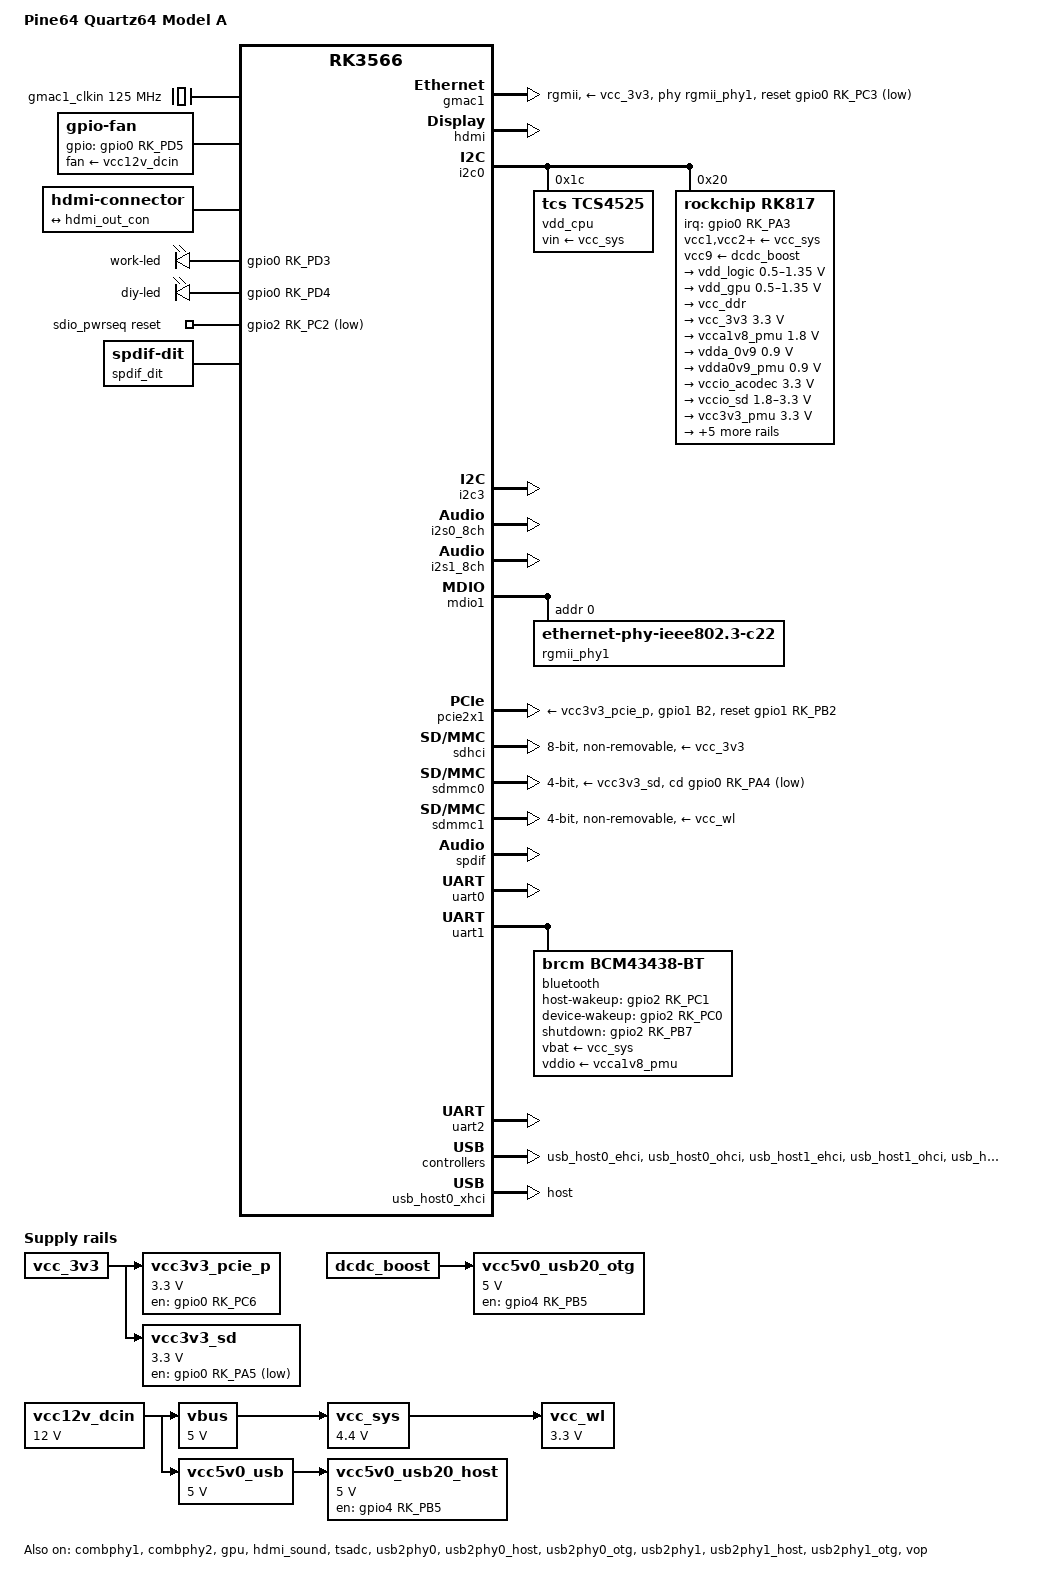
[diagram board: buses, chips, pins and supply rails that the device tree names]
// SPDX-License-Identifier: (GPL-2.0+ OR MIT)

/dts-v1/;

#include <dt-bindings/gpio/gpio.h>
#include <dt-bindings/pinctrl/rockchip.h>
#include <dt-bindings/soc/rockchip,vop2.h>
#include "rk3566.dtsi"

/ {
	model = "Pine64 Quartz64 Model A";
	compatible = "pine64,quartz64-a", "rockchip,rk3566";

	aliases {
		ethernet0 = &gmac1;
		mmc0 = &sdmmc0;
		mmc1 = &sdhci;
	};

	chosen: chosen {
		stdout-path = "serial2:1500000n8";
	};

	gmac1_clkin: external-gmac1-clock {
		compatible = "fixed-clock";
		clock-frequency = <125000000>;
		clock-output-names = "gmac1_clkin";
		#clock-cells = <0>;
	};

	fan: gpio_fan {
		compatible = "gpio-fan";
		fan-supply = <&vcc12v_dcin>;
		gpios = <&gpio0 RK_PD5 GPIO_ACTIVE_HIGH>;
		gpio-fan,speed-map =
				<   0 0>,
				<4500 1>;
		pinctrl-names = "default";
		pinctrl-0 = <&fan_en_h>;
		#cooling-cells = <2>;
	};

	hdmi-con {
		compatible = "hdmi-connector";
		type = "a";

		port {
			hdmi_con_in: endpoint {
				remote-endpoint = <&hdmi_out_con>;
			};
		};
	};

	leds {
		compatible = "gpio-leds";

		led-work {
			label = "work-led";
			default-state = "off";
			gpios = <&gpio0 RK_PD3 GPIO_ACTIVE_HIGH>;
			pinctrl-names = "default";
			pinctrl-0 = <&work_led_enable_h>;
			retain-state-suspended;
		};

		led-diy {
			label = "diy-led";
			default-state = "on";
			gpios = <&gpio0 RK_PD4 GPIO_ACTIVE_HIGH>;
			linux,default-trigger = "heartbeat";
			pinctrl-names = "default";
			pinctrl-0 = <&diy_led_enable_h>;
			retain-state-suspended;
		};
	};

	rk817-sound {
		compatible = "simple-audio-card";
		simple-audio-card,format = "i2s";
		simple-audio-card,name = "Analog RK817";
		simple-audio-card,mclk-fs = <256>;

		simple-audio-card,cpu {
			sound-dai = <&i2s1_8ch>;
		};

		simple-audio-card,codec {
			sound-dai = <&rk817>;
		};
	};

	sdio_pwrseq: sdio-pwrseq {
		compatible = "mmc-pwrseq-simple";
		clocks = <&rk817 1>;
		clock-names = "ext_clock";
		pinctrl-names = "default";
		pinctrl-0 = <&wifi_enable_h>;
		post-power-on-delay-ms = <100>;
		power-off-delay-us = <5000000>;
		reset-gpios = <&gpio2 RK_PC2 GPIO_ACTIVE_LOW>;
	};

	spdif_dit: spdif-dit {
		compatible = "linux,spdif-dit";
		#sound-dai-cells = <0>;
	};

	spdif_sound: spdif-sound {
		compatible = "simple-audio-card";
		simple-audio-card,name = "SPDIF";

		simple-audio-card,cpu {
			sound-dai = <&spdif>;
		};

		simple-audio-card,codec {
			sound-dai = <&spdif_dit>;
		};
	};

	vcc12v_dcin: regulator-vcc12v-dcin {
		compatible = "regulator-fixed";
		regulator-name = "vcc12v_dcin";
		regulator-always-on;
		regulator-boot-on;
		regulator-min-microvolt = <12000000>;
		regulator-max-microvolt = <12000000>;
	};

	/* vbus feeds the rk817 usb input.
	 * With no battery attached, also feeds vcc_bat+
	 * via ON/OFF_BAT jumper
	 */
	vbus: regulator-vbus {
		compatible = "regulator-fixed";
		regulator-name = "vbus";
		regulator-always-on;
		regulator-boot-on;
		regulator-min-microvolt = <5000000>;
		regulator-max-microvolt = <5000000>;
		vin-supply = <&vcc12v_dcin>;
	};

	vcc3v3_pcie_p: regulator-vcc3v3-pcie-p {
		compatible = "regulator-fixed";
		enable-active-high;
		gpio = <&gpio0 RK_PC6 GPIO_ACTIVE_HIGH>;
		pinctrl-names = "default";
		pinctrl-0 = <&pcie_enable_h>;
		regulator-name = "vcc3v3_pcie_p";
		regulator-min-microvolt = <3300000>;
		regulator-max-microvolt = <3300000>;
		vin-supply = <&vcc_3v3>;
	};

	vcc5v0_usb: regulator-vcc5v0-usb {
		compatible = "regulator-fixed";
		regulator-name = "vcc5v0_usb";
		regulator-always-on;
		regulator-boot-on;
		regulator-min-microvolt = <5000000>;
		regulator-max-microvolt = <5000000>;
		vin-supply = <&vcc12v_dcin>;
	};

	/* all four ports are controlled by one gpio
	 * the host ports are sourced from vcc5v0_usb
	 * the otg port is sourced from vcc5v0_midu
	 */
	vcc5v0_usb20_host: regulator-vcc5v0-usb20-host {
		compatible = "regulator-fixed";
		enable-active-high;
		gpio = <&gpio4 RK_PB5 GPIO_ACTIVE_HIGH>;
		pinctrl-names = "default";
		pinctrl-0 = <&vcc5v0_usb20_host_en>;
		regulator-name = "vcc5v0_usb20_host";
		regulator-min-microvolt = <5000000>;
		regulator-max-microvolt = <5000000>;
		vin-supply = <&vcc5v0_usb>;
	};

	vcc5v0_usb20_otg: regulator-vcc5v0-usb20-otg {
		compatible = "regulator-fixed";
		enable-active-high;
		gpio = <&gpio4 RK_PB5 GPIO_ACTIVE_HIGH>;
		regulator-name = "vcc5v0_usb20_otg";
		regulator-min-microvolt = <5000000>;
		regulator-max-microvolt = <5000000>;
		vin-supply = <&dcdc_boost>;
	};

	vcc3v3_sd: regulator-vcc3v3-sd {
		compatible = "regulator-fixed";
		gpio = <&gpio0 RK_PA5 GPIO_ACTIVE_LOW>;
		pinctrl-names = "default";
		pinctrl-0 = <&vcc_sd_h>;
		regulator-boot-on;
		regulator-name = "vcc3v3_sd";
		regulator-min-microvolt = <3300000>;
		regulator-max-microvolt = <3300000>;
		vin-supply = <&vcc_3v3>;
	};

	/* sourced from vbus and vcc_bat+ via rk817 sw5 */
	vcc_sys: regulator-vcc-sys {
		compatible = "regulator-fixed";
		regulator-name = "vcc_sys";
		regulator-always-on;
		regulator-boot-on;
		regulator-min-microvolt = <4400000>;
		regulator-max-microvolt = <4400000>;
		vin-supply = <&vbus>;
	};

	/* sourced from vcc_sys, sdio module operates internally at 3.3v */
	vcc_wl: regulator-vcc-wl {
		compatible = "regulator-fixed";
		regulator-name = "vcc_wl";
		regulator-always-on;
		regulator-boot-on;
		regulator-min-microvolt = <3300000>;
		regulator-max-microvolt = <3300000>;
		vin-supply = <&vcc_sys>;
	};
};

&combphy1 {
	status = "okay";
};

&combphy2 {
	status = "okay";
};

&cpu0 {
	cpu-supply = <&vdd_cpu>;
};

&cpu1 {
	cpu-supply = <&vdd_cpu>;
};

&cpu2 {
	cpu-supply = <&vdd_cpu>;
};

&cpu3 {
	cpu-supply = <&vdd_cpu>;
};

&cpu_thermal {
	trips {
		cpu_hot: cpu_hot {
			temperature = <55000>;
			hysteresis = <2000>;
			type = "active";
		};
	};

	cooling-maps {
		map1 {
			trip = <&cpu_hot>;
			cooling-device = <&fan THERMAL_NO_LIMIT THERMAL_NO_LIMIT>;
		};
	};
};

&gmac1 {
	assigned-clocks = <&cru SCLK_GMAC1_RX_TX>,
			  <&cru SCLK_GMAC1_RGMII_SPEED>,
			  <&cru SCLK_GMAC1>;
	assigned-clock-parents = <&cru SCLK_GMAC1_RGMII_SPEED>,
				 <&cru SCLK_GMAC1>,
				 <&gmac1_clkin>;
	clock_in_out = "input";
	phy-supply = <&vcc_3v3>;
	phy-mode = "rgmii";
	pinctrl-names = "default";
	pinctrl-0 = <&gmac1m0_miim
		     &gmac1m0_tx_bus2
		     &gmac1m0_rx_bus2
		     &gmac1m0_rgmii_clk
		     &gmac1m0_clkinout
		     &gmac1m0_rgmii_bus>;
	snps,reset-gpio = <&gpio0 RK_PC3 GPIO_ACTIVE_LOW>;
	snps,reset-active-low;
	/* Reset time is 20ms, 100ms for rtl8211f */
	snps,reset-delays-us = <0 20000 100000>;
	tx_delay = <0x30>;
	rx_delay = <0x10>;
	phy-handle = <&rgmii_phy1>;
	status = "okay";
};

&gpu {
	mali-supply = <&vdd_gpu>;
	status = "okay";
};

&hdmi {
	avdd-0v9-supply = <&vdda_0v9>;
	avdd-1v8-supply = <&vcc_1v8>;
	status = "okay";
};

&hdmi_in {
	hdmi_in_vp0: endpoint {
		remote-endpoint = <&vp0_out_hdmi>;
	};
};

&hdmi_out {
	hdmi_out_con: endpoint {
		remote-endpoint = <&hdmi_con_in>;
	};
};

&hdmi_sound {
	status = "okay";
};

&i2c0 {
	status = "okay";

	vdd_cpu: regulator@1c {
		compatible = "tcs,tcs4525";
		reg = <0x1c>;
		fcs,suspend-voltage-selector = <1>;
		regulator-name = "vdd_cpu";
		regulator-min-microvolt = <800000>;
		regulator-max-microvolt = <1150000>;
		regulator-ramp-delay = <2300>;
		regulator-always-on;
		regulator-boot-on;
		vin-supply = <&vcc_sys>;

		regulator-state-mem {
			regulator-off-in-suspend;
		};
	};

	rk817: pmic@20 {
		compatible = "rockchip,rk817";
		reg = <0x20>;
		interrupt-parent = <&gpio0>;
		interrupts = <RK_PA3 IRQ_TYPE_LEVEL_LOW>;
		assigned-clocks = <&cru I2S1_MCLKOUT_TX>;
		assigned-clock-parents = <&cru CLK_I2S1_8CH_TX>;
		clock-names = "mclk";
		clocks = <&cru I2S1_MCLKOUT_TX>;
		clock-output-names = "rk808-clkout1", "rk808-clkout2";
		#clock-cells = <1>;
		pinctrl-names = "default";
		pinctrl-0 = <&pmic_int_l>, <&i2s1m0_mclk>;
		system-power-controller;
		#sound-dai-cells = <0>;
		wakeup-source;

		vcc1-supply = <&vcc_sys>;
		vcc2-supply = <&vcc_sys>;
		vcc3-supply = <&vcc_sys>;
		vcc4-supply = <&vcc_sys>;
		vcc5-supply = <&vcc_sys>;
		vcc6-supply = <&vcc_sys>;
		vcc7-supply = <&vcc_sys>;
		vcc8-supply = <&vcc_sys>;
		vcc9-supply = <&dcdc_boost>;

		regulators {
			vdd_logic: DCDC_REG1 {
				regulator-always-on;
				regulator-boot-on;
				regulator-min-microvolt = <500000>;
				regulator-max-microvolt = <1350000>;
				regulator-ramp-delay = <6001>;
				regulator-initial-mode = <0x2>;
				regulator-name = "vdd_logic";
				regulator-state-mem {
					regulator-on-in-suspend;
					regulator-suspend-microvolt = <900000>;
				};
			};

			vdd_gpu: DCDC_REG2 {
				regulator-always-on;
				regulator-boot-on;
				regulator-min-microvolt = <500000>;
				regulator-max-microvolt = <1350000>;
				regulator-ramp-delay = <6001>;
				regulator-initial-mode = <0x2>;
				regulator-name = "vdd_gpu";
					regulator-state-mem {
					regulator-off-in-suspend;
				};
			};

			vcc_ddr: DCDC_REG3 {
				regulator-always-on;
				regulator-boot-on;
				regulator-initial-mode = <0x2>;
				regulator-name = "vcc_ddr";
				regulator-state-mem {
					regulator-on-in-suspend;
				};
			};

			vcc_3v3: DCDC_REG4 {
				regulator-always-on;
				regulator-boot-on;
				regulator-min-microvolt = <3300000>;
				regulator-max-microvolt = <3300000>;
				regulator-initial-mode = <0x2>;
				regulator-name = "vcc_3v3";
				regulator-state-mem {
					regulator-off-in-suspend;
				};
			};

			vcca1v8_pmu: LDO_REG1 {
				regulator-always-on;
				regulator-boot-on;
				regulator-min-microvolt = <1800000>;
				regulator-max-microvolt = <1800000>;
				regulator-name = "vcca1v8_pmu";
				regulator-state-mem {
					regulator-on-in-suspend;
					regulator-suspend-microvolt = <1800000>;
				};
			};

			vdda_0v9: LDO_REG2 {
				regulator-always-on;
				regulator-boot-on;
				regulator-min-microvolt = <900000>;
				regulator-max-microvolt = <900000>;
				regulator-name = "vdda_0v9";
				regulator-state-mem {
					regulator-off-in-suspend;
				};
			};

			vdda0v9_pmu: LDO_REG3 {
				regulator-always-on;
				regulator-boot-on;
				regulator-min-microvolt = <900000>;
				regulator-max-microvolt = <900000>;
				regulator-name = "vdda0v9_pmu";
				regulator-state-mem {
					regulator-on-in-suspend;
					regulator-suspend-microvolt = <900000>;
				};
			};

			vccio_acodec: LDO_REG4 {
				regulator-always-on;
				regulator-boot-on;
				regulator-min-microvolt = <3300000>;
				regulator-max-microvolt = <3300000>;
				regulator-name = "vccio_acodec";
				regulator-state-mem {
					regulator-off-in-suspend;
				};
			};

			vccio_sd: LDO_REG5 {
				regulator-always-on;
				regulator-boot-on;
				regulator-min-microvolt = <1800000>;
				regulator-max-microvolt = <3300000>;
				regulator-name = "vccio_sd";
				regulator-state-mem {
					regulator-off-in-suspend;
				};
			};

			vcc3v3_pmu: LDO_REG6 {
				regulator-always-on;
				regulator-boot-on;
				regulator-min-microvolt = <3300000>;
				regulator-max-microvolt = <3300000>;
				regulator-name = "vcc3v3_pmu";
				regulator-state-mem {
					regulator-on-in-suspend;
					regulator-suspend-microvolt = <3300000>;
				};
			};

			vcc_1v8: LDO_REG7 {
				regulator-always-on;
				regulator-boot-on;
				regulator-min-microvolt = <1800000>;
				regulator-max-microvolt = <1800000>;
				regulator-name = "vcc_1v8";
				regulator-state-mem {
					regulator-off-in-suspend;
				};
			};

			vcc1v8_dvp: LDO_REG8 {
				regulator-always-on;
				regulator-boot-on;
				regulator-min-microvolt = <1800000>;
				regulator-max-microvolt = <1800000>;
				regulator-name = "vcc1v8_dvp";
				regulator-state-mem {
					regulator-off-in-suspend;
				};
			};

			vcc2v8_dvp: LDO_REG9 {
				regulator-always-on;
				regulator-boot-on;
				regulator-min-microvolt = <2800000>;
				regulator-max-microvolt = <2800000>;
				regulator-name = "vcc2v8_dvp";
				regulator-state-mem {
					regulator-off-in-suspend;
				};
			};

			dcdc_boost: BOOST {
				regulator-always-on;
				regulator-boot-on;
				regulator-min-microvolt = <5000000>;
				regulator-max-microvolt = <5000000>;
				regulator-name = "boost";
				regulator-state-mem {
					regulator-off-in-suspend;
				};
			};

			otg_switch: OTG_SWITCH {
				regulator-name = "otg_switch";
				regulator-state-mem {
					regulator-off-in-suspend;
				};
			};
		};
	};
};

/* i2c3 is exposed on con40
 * pin 3 - i2c3_sda_m0, pullup to vcc_3v3
 * pin 5 - i2c3_scl_m0, pullup to vcc_3v3
 */
&i2c3 {
	status = "okay";
};

&i2s0_8ch {
	status = "okay";
};

&i2s1_8ch {
	pinctrl-names = "default";
	pinctrl-0 = <&i2s1m0_sclktx
		     &i2s1m0_lrcktx
		     &i2s1m0_sdi0
		     &i2s1m0_sdo0>;
	rockchip,trcm-sync-tx-only;
	status = "okay";
};

&mdio1 {
	rgmii_phy1: ethernet-phy@0 {
		compatible = "ethernet-phy-ieee802.3-c22";
		reg = <0>;
	};
};

&pcie2x1 {
	pinctrl-names = "default";
	pinctrl-0 = <&pcie_reset_h>;
	reset-gpios = <&gpio1 RK_PB2 GPIO_ACTIVE_HIGH>;
	vpcie3v3-supply = <&vcc3v3_pcie_p>;
	status = "okay";
};

&pinctrl {
	bt {
		bt_enable_h: bt-enable-h {
			rockchip,pins = <2 RK_PB7 RK_FUNC_GPIO &pcfg_pull_none>;
		};

		bt_host_wake_l: bt-host-wake-l {
			rockchip,pins = <2 RK_PC0 RK_FUNC_GPIO &pcfg_pull_down>;
		};

		bt_wake_l: bt-wake-l {
			rockchip,pins = <2 RK_PC1 RK_FUNC_GPIO &pcfg_pull_none>;
		};
	};

	fan {
		fan_en_h: fan-en-h {
			rockchip,pins = <0 RK_PD5 RK_FUNC_GPIO &pcfg_pull_none>;
		};
	};

	leds {
		work_led_enable_h: work-led-enable-h {
			rockchip,pins = <0 RK_PD3 RK_FUNC_GPIO &pcfg_pull_none>;
		};

		diy_led_enable_h: diy-led-enable-h {
			rockchip,pins = <0 RK_PD4 RK_FUNC_GPIO &pcfg_pull_none>;
		};
	};

	pcie {
		pcie_enable_h: pcie-enable-h {
			rockchip,pins = <0 RK_PC6 RK_FUNC_GPIO &pcfg_pull_none>;
		};

		pcie_reset_h: pcie-reset-h {
			rockchip,pins = <1 RK_PB2 RK_FUNC_GPIO &pcfg_pull_none>;
		};
	};

	pmic {
		pmic_int_l: pmic-int-l {
			rockchip,pins = <0 RK_PA3 RK_FUNC_GPIO &pcfg_pull_up>;
		};
	};

	usb2 {
		vcc5v0_usb20_host_en: vcc5v0-usb20-host-en {
			rockchip,pins = <4 RK_PB5 RK_FUNC_GPIO &pcfg_pull_none>;
		};
	};

	sdio-pwrseq {
		wifi_enable_h: wifi-enable-h {
			rockchip,pins = <2 RK_PC2 RK_FUNC_GPIO &pcfg_pull_none>;
		};
	};

	vcc_sd {
		vcc_sd_h: vcc-sd-h {
			rockchip,pins = <0 RK_PA5 RK_FUNC_GPIO &pcfg_pull_none>;
		};
	};
};

&pmu_io_domains {
	pmuio1-supply = <&vcc3v3_pmu>;
	pmuio2-supply = <&vcc3v3_pmu>;
	vccio1-supply = <&vccio_acodec>;
	vccio2-supply = <&vcc_1v8>;
	vccio3-supply = <&vccio_sd>;
	vccio4-supply = <&vcc_1v8>;
	vccio5-supply = <&vcc_3v3>;
	vccio6-supply = <&vcc1v8_dvp>;
	vccio7-supply = <&vcc_3v3>;
	status = "okay";
};

&sdhci {
	bus-width = <8>;
	mmc-hs200-1_8v;
	non-removable;
	vmmc-supply = <&vcc_3v3>;
	vqmmc-supply = <&vcc_1v8>;
	status = "okay";
};

&sdmmc0 {
	bus-width = <4>;
	cap-sd-highspeed;
	cd-gpios = <&gpio0 RK_PA4 GPIO_ACTIVE_LOW>;
	disable-wp;
	pinctrl-names = "default";
	pinctrl-0 = <&sdmmc0_bus4 &sdmmc0_clk &sdmmc0_cmd &sdmmc0_det>;
	sd-uhs-sdr104;
	vmmc-supply = <&vcc3v3_sd>;
	vqmmc-supply = <&vccio_sd>;
	status = "okay";
};

&sdmmc1 {
	bus-width = <4>;
	cap-sd-highspeed;
	cap-sdio-irq;
	keep-power-in-suspend;
	mmc-pwrseq = <&sdio_pwrseq>;
	non-removable;
	pinctrl-names = "default";
	pinctrl-0 = <&sdmmc1_bus4 &sdmmc1_cmd &sdmmc1_clk>;
	sd-uhs-sdr104;
	vmmc-supply = <&vcc_wl>;
	vqmmc-supply = <&vcc_1v8>;
	status = "okay";
};

&sfc {
	pinctrl-0 = <&fspi_pins>;
	pinctrl-names = "default";
	#address-cells = <1>;
	#size-cells = <0>;
	status = "disabled";

	flash@0 {
		compatible = "jedec,spi-nor";
		reg = <0>;
		spi-max-frequency = <24000000>;
		spi-rx-bus-width = <4>;
		spi-tx-bus-width = <1>;
	};
};

/* spdif is exposed on con40 pin 18 */
&spdif {
	status = "okay";
};

/* spi1 is exposed on con40
 * pin 11 - spi1_mosi_m1
 * pin 13 - spi1_miso_m1
 * pin 15 - spi1_clk_m1
 * pin 17 - spi1_cs0_m1
 */
&spi1 {
	pinctrl-names = "default";
	pinctrl-0 = <&spi1m1_cs0 &spi1m1_pins>;
};

&tsadc {
	/* tshut mode 0:CRU 1:GPIO */
	rockchip,hw-tshut-mode = <1>;
	/* tshut polarity 0:LOW 1:HIGH */
	rockchip,hw-tshut-polarity = <0>;
	status = "okay";
};

/* uart0 is exposed on con40
 * pin 12 - uart0_tx
 * pin 14 - uart0_rx
 */
&uart0 {
	pinctrl-names = "default";
	pinctrl-0 = <&uart0_xfer>;
	status = "okay";
};

&uart1 {
	dma-names = "tx", "rx";
	pinctrl-names = "default";
	pinctrl-0 = <&uart1m0_xfer &uart1m0_ctsn &uart1m0_rtsn>;
	status = "okay";
	uart-has-rtscts;

	bluetooth {
		compatible = "brcm,bcm43438-bt";
		clocks = <&rk817 1>;
		clock-names = "lpo";
		host-wakeup-gpios = <&gpio2 RK_PC1 GPIO_ACTIVE_HIGH>;
		device-wakeup-gpios = <&gpio2 RK_PC0 GPIO_ACTIVE_HIGH>;
		shutdown-gpios = <&gpio2 RK_PB7 GPIO_ACTIVE_HIGH>;
		pinctrl-names = "default";
		pinctrl-0 = <&bt_host_wake_l &bt_wake_l &bt_enable_h>;
		vbat-supply = <&vcc_sys>;
		vddio-supply = <&vcca1v8_pmu>;
		max-speed = <3000000>;
	};
};

/* uart2 is exposed on con40
 * pin 8 - uart2_tx_m0_debug
 * pin 10 - uart2_rx_m0_debug
 */
&uart2 {
	status = "okay";
};

&usb_host0_ehci {
	status = "okay";
};

&usb_host0_ohci {
	status = "okay";
};

&usb_host1_ehci {
	status = "okay";
};

&usb_host1_ohci {
	status = "okay";
};

&usb_host0_xhci {
	dr_mode = "host";
	status = "okay";
};

/* usb3 controller is muxed with sata1 */
&usb_host1_xhci {
	status = "okay";
};

&usb2phy0 {
	status = "okay";
};

&usb2phy0_host {
	phy-supply = <&vcc5v0_usb20_host>;
	status = "okay";
};

&usb2phy0_otg {
	phy-supply = <&vcc5v0_usb20_otg>;
	status = "okay";
};

&usb2phy1 {
	status = "okay";
};

&usb2phy1_host {
	phy-supply = <&vcc5v0_usb20_host>;
	status = "okay";
};

&usb2phy1_otg {
	phy-supply = <&vcc5v0_usb20_host>;
	status = "okay";
};

&vop {
	assigned-clocks = <&cru DCLK_VOP0>, <&cru DCLK_VOP1>;
	assigned-clock-parents = <&pmucru PLL_HPLL>, <&cru PLL_VPLL>;
	status = "okay";
};

&vop_mmu {
	status = "okay";
};

&vp0 {
	vp0_out_hdmi: endpoint@ROCKCHIP_VOP2_EP_HDMI0 {
		reg = <ROCKCHIP_VOP2_EP_HDMI0>;
		remote-endpoint = <&hdmi_in_vp0>;
	};
};
